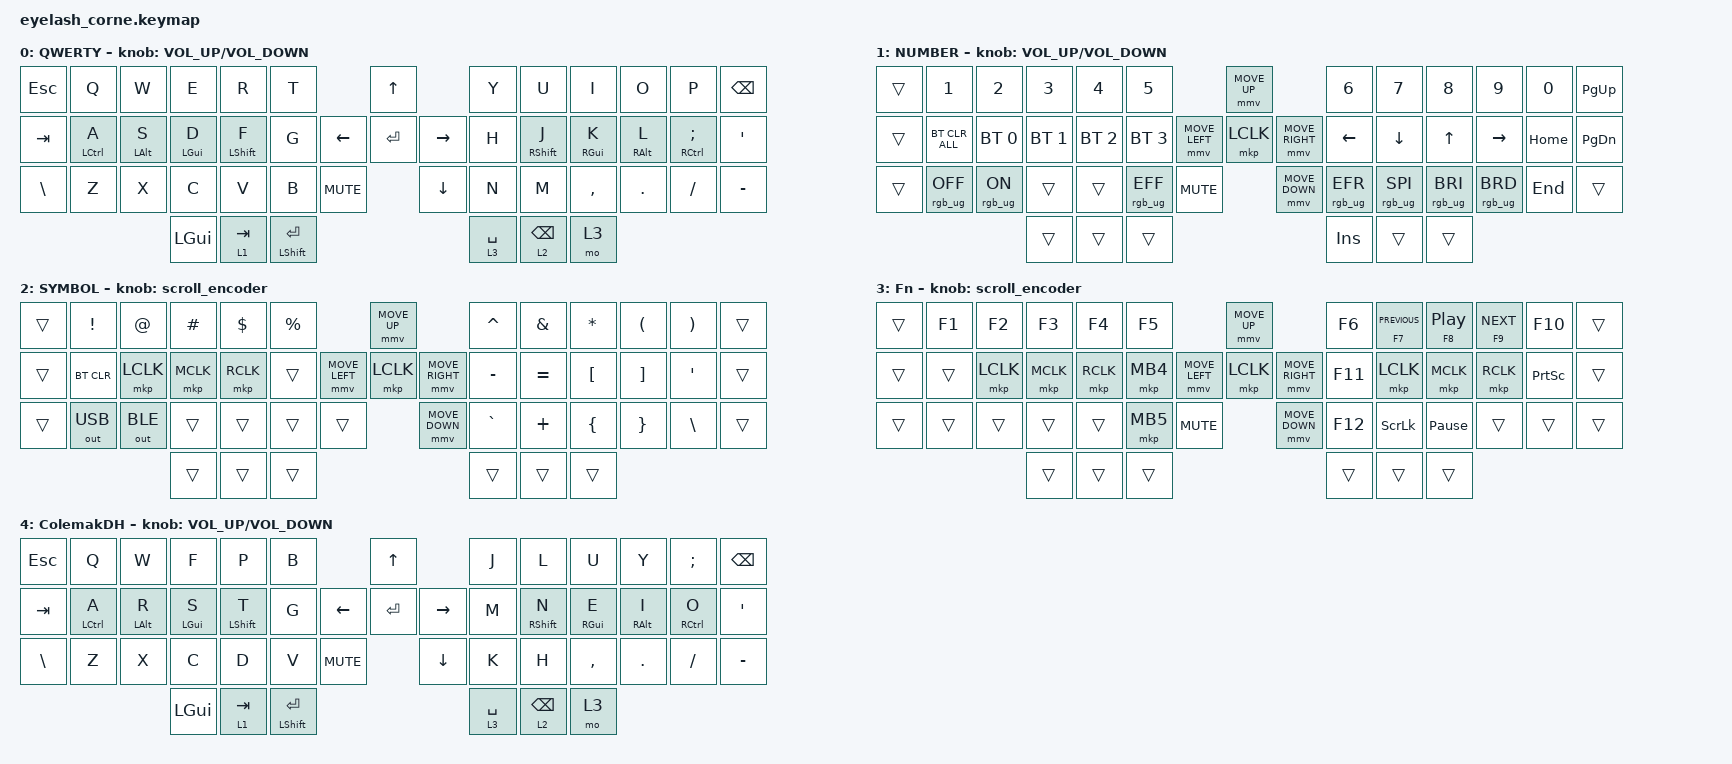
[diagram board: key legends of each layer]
#include <dt-bindings/zmk/mouse.h>
#include <input/processors.dtsi>
#include <behaviors.dtsi>
#include <dt-bindings/zmk/bt.h>
#include <dt-bindings/zmk/keys.h>
#include <dt-bindings/zmk/outputs.h>
#include <dt-bindings/zmk/pointing.h>
#include <dt-bindings/zmk/rgb.h>

/*

   &mmv_input_listener {
       input-processors = <&zip_xy_scaler 2 1>;
   };

   &msc_input_listener {
       input-processors = <&zip_xy_scaler 2 1>;
   };

 */

#define ZMK_MOUSE_DEFAULT_MOVE_VAL 1200  // 600
#define ZMK_MOUSE_DEFAULT_SCRL_VAL 20    // 10

/ {
    behaviors {
        td0: td0 {
            compatible = "zmk,behavior-tap-dance";
            display-name = "Shift/Caps Lock Tap Dance";
            #binding-cells = <0>;
            bindings = <&kp LEFT_SHIFT>, <&kp CAPS>;
        };

        HMR: HMR {
            compatible = "zmk,behavior-hold-tap";
            label = "HMR";
            bindings = <&kp>, <&kp>;

            #binding-cells = <2>;
            tapping-term-ms = <250>;
            quick-tap-ms = <175>;
            flavor = "balanced";
            hold-trigger-on-release;
            hold-trigger-key-positions = <0 1 2 3 4 5 13 14 15 16 17 18 28 29 30 31 32 33 42 43 44 45 46 47>;
            require-prior-idle-ms = <150>;
        };

        HML: HML {
            compatible = "zmk,behavior-hold-tap";
            label = "HML";
            bindings = <&kp>, <&kp>;

            #binding-cells = <2>;
            tapping-term-ms = <250>;
            quick-tap-ms = <175>;
            flavor = "balanced";
            hold-trigger-key-positions = <7 8 9 10 11 12 22 23 24 25 26 27 36 37 38 39 40 41 45 46 47 42 43 44>;
            hold-trigger-on-release;
            require-prior-idle-ms = <150>;
        };

        hold_tap_quick_tap: hold_tap_quick_tap {
            compatible = "zmk,behavior-hold-tap";
            label = "HOLD_TAP_QUICK_TAP";
            bindings = <&mo>, <&kp>;

            #binding-cells = <2>;
            tapping-term-ms = <250>;
            quick-tap-ms = <175>;
            flavor = "balanced";
            hold-trigger-on-release;
            require-prior-idle-ms = <150>;
        };
    };

    rgb_encoder: rgb_encoder {
        compatible = "zmk,behavior-sensor-rotate";
        #sensor-binding-cells = <0>;
        bindings = <&rgb_ug RGB_BRI>, <&rgb_ug RGB_BRD>;
    };

    scroll_encoder: scroll_encoder {
        compatible = "zmk,behavior-sensor-rotate";
        #sensor-binding-cells = <0>;
        bindings = <&msc SCRL_DOWN>, <&msc SCRL_UP>;

        tap-ms = <30>;
    };

    combos {
        compatible = "zmk,combos";

        ToggleLayer4 {
            bindings = <&tog 4>;
            key-positions = <46 45>;
        };

        Escape {
            bindings = <&kp ESC>;
            key-positions = <44 45>;
        };

        CapsWord {
            bindings = <&caps_word>;
            key-positions = <46 43>;
        };
    };

    keymap {
        compatible = "zmk,keymap";

        default_layer {
            display-name = "QWERTY";
            bindings = <
&kp ESCAPE     &kp Q         &kp W            &kp E            &kp R                      &kp T                                         &kp UP                &kp Y                        &kp U                            &kp I             &kp O             &kp P                    &kp BACKSPACE
&kp TAB        &HML LCTRL A  &HML LEFT_ALT S  &HML LEFT_GUI D  &HML LEFT_SHIFT F          &kp G                               &kp LEFT  &kp ENTER  &kp RIGHT  &kp H                        &HMR RIGHT_SHIFT J               &HMR RIGHT_GUI K  &HMR RIGHT_ALT L  &HMR RIGHT_CONTROL SEMI  &kp SQT
&kp BACKSLASH  &kp Z         &kp X            &kp C            &kp V                      &kp B                 &kp C_MUTE              &kp DOWN              &kp N                        &kp M                            &kp COMMA         &kp DOT           &kp FSLH                 &kp MINUS
                                              &kp LGUI         &hold_tap_quick_tap 1 TAB  &mt LEFT_SHIFT ENTER                                                &hold_tap_quick_tap 3 SPACE  &hold_tap_quick_tap 2 BACKSPACE  &mo 3
            >;

            sensor-bindings = <&inc_dec_kp C_VOLUME_UP C_VOLUME_DOWN>;
        };

        Number {
            display-name = "NUMBER";
            bindings = <
&trans  &kp N1           &kp N2          &kp N3        &kp N4        &kp N5                                         &mmv MOVE_UP                     &kp N6           &kp N7           &kp N8           &kp N9           &kp N0    &kp PG_UP
&trans  &bt BT_CLR_ALL   &bt BT_SEL 0    &bt BT_SEL 1  &bt BT_SEL 2  &bt BT_SEL 3                   &mmv MOVE_LEFT  &mkp LCLK       &mmv MOVE_RIGHT  &kp LEFT         &kp DOWN         &kp UP           &kp RIGHT        &kp HOME  &kp PG_DN
&trans  &rgb_ug RGB_OFF  &rgb_ug RGB_ON  &trans        &trans        &rgb_ug RGB_EFF  &kp C_MUTE                    &mmv MOVE_DOWN                   &rgb_ug RGB_EFR  &rgb_ug RGB_SPI  &rgb_ug RGB_BRI  &rgb_ug RGB_BRD  &kp END   &trans
                                         &trans        &trans        &trans                                                                          &kp INS          &trans           &trans
            >;

            sensor-bindings = <&inc_dec_kp C_VOLUME_UP C_VOLUME_DOWN>;
        };

        Symbol {
            display-name = "SYMBOL";
            bindings = <
&trans  &kp EXCL      &kp AT        &kp HASH   &kp DLLR   &kp PRCNT                            &mmv MOVE_UP                     &kp CARET  &kp AMPS   &kp ASTRK  &kp LPAR  &kp RPAR       &trans
&trans  &bt BT_CLR    &mkp LCLK     &mkp MCLK  &mkp RCLK  &trans               &mmv MOVE_LEFT  &mkp LCLK       &mmv MOVE_RIGHT  &kp MINUS  &kp EQUAL  &kp LBKT   &kp RBKT  &kp APOS       &trans
&trans  &out OUT_USB  &out OUT_BLE  &trans     &trans     &trans     &trans                    &mmv MOVE_DOWN                   &kp GRAVE  &kp PLUS   &kp LBRC   &kp RBRC  &kp BACKSLASH  &trans
                                    &trans     &trans     &trans                                                                &trans     &trans     &trans
            >;

            sensor-bindings = <&scroll_encoder>;
        };

        FN {
            display-name = "Fn";
            bindings = <
&trans  &kp F1  &kp F2     &kp F3     &kp F4     &kp F5                                  &mmv MOVE_UP                     &kp F6   &mt F7 C_PREVIOUS  &mt F8 C_PLAY_PAUSE  &mt F9 C_NEXT  &kp F10          &trans
&trans  &trans  &mkp LCLK  &mkp MCLK  &mkp RCLK  &mkp MB4                &mmv MOVE_LEFT  &mkp LCLK       &mmv MOVE_RIGHT  &kp F11  &mkp LCLK          &mkp MCLK            &mkp RCLK      &kp PRINTSCREEN  &trans
&trans  &trans  &trans     &trans     &trans     &mkp MB5  &kp C_MUTE                    &mmv MOVE_DOWN                   &kp F12  &kp SCROLLLOCK     &kp PAUSE_BREAK      &trans         &trans           &trans
                           &trans     &trans     &trans                                                                   &trans   &trans             &trans
            >;

            sensor-bindings = <&scroll_encoder>;
        };

        layer_4 {
            display-name = "ColemakDH";
            bindings = <
&kp ESCAPE     &kp Q         &kp W            &kp F            &kp P                      &kp B                                         &kp UP                &kp J                        &kp L                            &kp U             &kp Y             &kp SEMI              &kp BACKSPACE
&kp TAB        &HML LCTRL A  &HML LEFT_ALT R  &HML LEFT_GUI S  &HML LEFT_SHIFT T          &kp G                               &kp LEFT  &kp ENTER  &kp RIGHT  &kp M                        &HMR RIGHT_SHIFT N               &HMR RIGHT_GUI E  &HMR RIGHT_ALT I  &HMR RIGHT_CONTROL O  &kp SQT
&kp BACKSLASH  &kp Z         &kp X            &kp C            &kp D                      &kp V                 &kp C_MUTE              &kp DOWN              &kp K                        &kp H                            &kp COMMA         &kp DOT           &kp FSLH              &kp MINUS
                                              &kp LGUI         &hold_tap_quick_tap 1 TAB  &mt LEFT_SHIFT ENTER                                                &hold_tap_quick_tap 3 SPACE  &hold_tap_quick_tap 2 BACKSPACE  &mo 3
            >;

            sensor-bindings = <&inc_dec_kp C_VOLUME_UP C_VOLUME_DOWN>;
        };
    };
};
